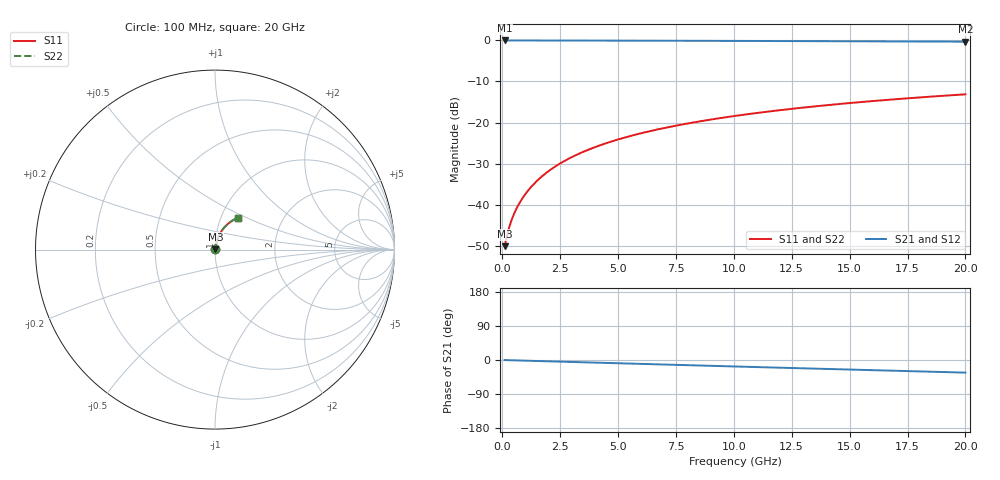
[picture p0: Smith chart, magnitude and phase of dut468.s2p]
! Touchstone file exported from HFSS 2026.1.0
!  File:  C:/ffzhzh/LocalFiles/Ansys_Project_Files/temp_train_BSMRDL_468_1783013621_51716.aedt
!  Generated:  01:35:03 AM Jul  3, 2026
!  Design:  BSMRDL
!  Project:  temp_train_BSMRDL_468_1783013621_51716
! Variables:
!  h_bsmrdl = 3.23um
!  h_ox = 20um
!  h_rdl = 5um
!  h_sub = 80um
!  h_tmrdl = 5um
!  h_tsv = 80um
!  h_via = 3um
!  l_bsmrdl = 528.36um
!  l_sub = 928.36um
!  l_tmrdl = 200um
!  m_sub = 200um
!  pitch = 36.95um
!  r_tsv = 6um
!  s_tmrdl = 10um
!  w_bsmrdl = 23.36um
!  w_sub = 500um
!  w_tmrdl = 12um
!  x_tsv_center1 = 206um
!  x_tsv_center2 = 757.72um
!  x_tsv_center3 = 969.72um
!  x_tsv_center4 = 1521.44um
!  x_tsv_center5 = 1733.44um
!  x_tsv_center6 = 2285.16um
# GHz S MA R 50.000000
! Terminal data exported
! Port[1] = BSM_RDL1_1_T1
! Port[2] = BSM_RDL1_1_T2
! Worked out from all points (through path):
!   200 points, 100 MHz to 20 GHz, reference 50 ohm
!   highest |S21| = -0.02 dB at 100 MHz (marker M1); lowest = -0.3 dB at 20 GHz (marker M2)
!   group delay of S21, straight-line fit = 4.62 ps
!   lowest |S11| = -50.1 dB at 100 MHz (marker M3), VSWR 1.01, Z = 50.3 + j0.154 ohm
!   |S11| at or under -10 dB: start of sweep to end of sweep
!   |S22| runs from -50.1 to -13.1 dB; largest |S21 - S12| = 3.4e-15
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0.1  0.003135 29.2  0.9973 -0.2  0.9973 -0.2  0.003135 29.2
! Gamma 0 0 0 0
! Port Impedance 50 0 50 0
0.2  0.004168 45.6  0.9971 -0.4  0.9971 -0.4  0.004168 45.6
0.3  0.005336 54.0  0.9969 -0.6  0.9969 -0.6  0.005336 54.0
0.4  0.006509 59.2  0.9967 -0.7  0.9967 -0.7  0.006509 59.2
0.5  0.007671 62.8  0.9966 -0.9  0.9966 -0.9  0.007671 62.8
0.6  0.008831 65.6  0.9965 -1.1  0.9965 -1.1  0.008831 65.6
0.8  0.01116 69.5  0.9963 -1.4  0.9963 -1.4  0.01116 69.5
1  0.01353 72.2  0.9962 -1.8  0.9962 -1.8  0.01353 72.2
1.2  0.01593 74.0  0.9961 -2.1  0.9961 -2.1  0.01593 74.0
1.4  0.01835 75.3  0.996 -2.4  0.996 -2.4  0.01835 75.3
1.7  0.02201 76.6  0.9958 -3.0  0.9958 -3.0  0.02201 76.6
2.2  0.02814 77.7  0.9955 -3.8  0.9955 -3.8  0.02814 77.7
2.8  0.03552 78.1  0.995 -4.9  0.995 -4.9  0.03552 78.1
3.5  0.0441 77.9  0.9944 -6.1  0.9944 -6.1  0.0441 77.9
4.2  0.05263 77.3  0.9937 -7.3  0.9937 -7.3  0.05263 77.3
5  0.06228 76.5  0.9927 -8.6  0.9927 -8.6  0.06228 76.5
6.8  0.08357 74.0  0.9902 -11.7  0.9902 -11.7  0.08357 74.0
8.3  0.1008 71.8  0.9878 -14.2  0.9878 -14.2  0.1008 71.8
10.1  0.121 69.0  0.9847 -17.2  0.9847 -17.2  0.121 69.0
13.4  0.1563 63.9  0.9784 -22.7  0.9784 -22.7  0.1563 63.9
16.7  0.1895 58.9  0.9714 -28.0  0.9714 -28.0  0.1895 58.9
20  0.2205 53.8  0.9641 -33.3  0.9641 -33.3  0.2205 53.8
